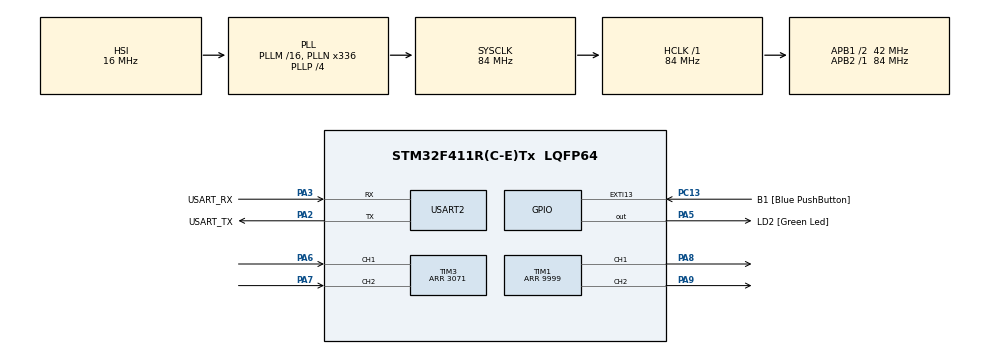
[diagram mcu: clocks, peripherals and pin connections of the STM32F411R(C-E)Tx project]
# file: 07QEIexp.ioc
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Mcu.Family=STM32F4
Mcu.Name=STM32F411R(C-E)Tx
Mcu.Package=LQFP64
NVIC.PriorityGroup=NVIC_PRIORITYGROUP_0
NVIC.TIM2_IRQn=true\:0\:0\:false\:false\:true\:true\:true
PA13.GPIO_Label=TMS
PA13.Mode=Serial_Wire
PA13.Signal=SYS_JTMS-SWDIO
PA14.GPIO_Label=TCK
PA14.Mode=Serial_Wire
PA14.Signal=SYS_JTCK-SWCLK
PA2.GPIO_Label=USART_TX
PA2.Mode=Asynchronous
PA2.Signal=USART2_TX
PA3.GPIO_Label=USART_RX
PA3.Mode=Asynchronous
PA3.Signal=USART2_RX
PA5.GPIO_Label=LD2 [Green Led]
PA5.Signal=GPIO_Output
PA6.Signal=S_TIM3_CH1
PA7.Signal=S_TIM3_CH2
PA8.Signal=S_TIM1_CH1
PA9.Signal=S_TIM1_CH2
PB3.GPIO_Label=SWO
PB3.Signal=SYS_JTDO-SWO
PC13-ANTI_TAMP.GPIO_Label=B1 [Blue PushButton]
PC13-ANTI_TAMP.GPIO_ModeDefaultEXTI=GPIO_MODE_IT_FALLING
PC13-ANTI_TAMP.Signal=GPXTI13
PC14-OSC32_IN.Mode=LSE-External-Oscillator
PC14-OSC32_IN.Signal=RCC_OSC32_IN
PC15-OSC32_OUT.Mode=LSE-External-Oscillator
PC15-OSC32_OUT.Signal=RCC_OSC32_OUT
PH0\ -\ OSC_IN.Mode=HSE-External-Clock-Source
PH0\ -\ OSC_IN.Signal=RCC_OSC_IN
PH1\ -\ OSC_OUT.Mode=HSE-External-Clock-Source
PH1\ -\ OSC_OUT.Signal=RCC_OSC_OUT
ProjectManager.HeapSize=0x200
ProjectManager.StackSize=0x400
ProjectManager.TargetToolchain=STM32CubeIDE
RCC.48MHZClocksFreq_Value=84000000
RCC.AHBFreq_Value=84000000
RCC.APB1CLKDivider=RCC_HCLK_DIV2
RCC.APB1Freq_Value=42000000
RCC.APB1TimFreq_Value=84000000
RCC.APB2Freq_Value=84000000
RCC.APB2TimFreq_Value=84000000
RCC.CortexFreq_Value=84000000
RCC.FLatency-AdvancedSettings=FLASH_LATENCY_2
RCC.HCLKFreq_Value=84000000
RCC.HSE_VALUE=8000000
RCC.HSI_VALUE=16000000
RCC.PLLN=336
RCC.PLLP=RCC_PLLP_DIV4
RCC.SYSCLKFreq_VALUE=84000000
RCC.SYSCLKSource=RCC_SYSCLKSOURCE_PLLCLK
RCC.VCOOutputFreq_Value=336000000
SH.S_TIM1_CH1.0=TIM1_CH1,PWM Generation1 CH1
SH.S_TIM1_CH2.0=TIM1_CH2,PWM Generation2 CH2
SH.S_TIM3_CH1.0=TIM3_CH1,Encoder_Interface
SH.S_TIM3_CH2.0=TIM3_CH2,Encoder_Interface
TIM1.Channel-PWM\ Generation1\ CH1=TIM_CHANNEL_1
TIM1.Channel-PWM\ Generation2\ CH2=TIM_CHANNEL_2
TIM1.Period=9999
TIM2.Prescaler=100
TIM3.EncoderMode=TIM_ENCODERMODE_TI12
TIM3.Period=3071
USART2.VirtualMode=VM_ASYNC
VP_TIM2_VS_ClockSourceINT.Mode=Internal
board=NUCLEO-F411RE

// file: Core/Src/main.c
/* USER CODE BEGIN Header */
/**
 ******************************************************************************
 * @file           : main.c
 * @brief          : Main program body
 ******************************************************************************
 * @attention
 *
 * Copyright (c) 2022 STMicroelectronics.
 * All rights reserved.
 *
 * This software is licensed under terms that can be found in the LICENSE file
 * in the root directory of this software component.
 * If no LICENSE file comes with this software, it is provided AS-IS.
 *
 ******************************************************************************
 */
/* USER CODE END Header */
#include "main.h"

TIM_HandleTypeDef htim1;
TIM_HandleTypeDef htim2;
TIM_HandleTypeDef htim3;

UART_HandleTypeDef huart2;

void SystemClock_Config(void);
static void MX_GPIO_Init(void);
static void MX_USART2_UART_Init(void);
static void MX_TIM2_Init(void);
static void MX_TIM3_Init(void);
static void MX_TIM1_Init(void);

/* USER CODE BEGIN 0 */
int need_pos = 0;
float kp = 1;
float error = 0,error1,error2;
float way=0;

int treshold = 10;
int min=900;
uint64_t TimeOutputLoop = 0;
uint64_t TimeOutputLoop2 = 0;
uint64_t micros();
uint64_t _micro = 0;
uint16_t PWMOutR = 0; //= 30% PWM
uint16_t PWMOutL = 0; //= 30% PWM

/* USER CODE END 0 */

int main(void) {

	/* MCU Configuration--------------------------------------------------------*/

	/* Reset of all peripherals, Initializes the Flash interface and the Systick. */
	HAL_Init();

	/* Configure the system clock */
	SystemClock_Config();

	/* Initialize all configured peripherals */
	MX_GPIO_Init();
	MX_USART2_UART_Init();
	MX_TIM2_Init();
	MX_TIM3_Init();
	MX_TIM1_Init();
	/* USER CODE BEGIN 2 */
	HAL_TIM_Encoder_Start(&htim3, TIM_CHANNEL_ALL);
	HAL_TIM_Base_Start(&htim1); //setup
	HAL_TIM_PWM_Start(&htim1, TIM_CHANNEL_1); //setup write pwm
	HAL_TIM_PWM_Start(&htim1, TIM_CHANNEL_2); //setup write pwm

	__HAL_TIM_SET_COMPARE(&htim1, TIM_CHANNEL_1, 0);
	__HAL_TIM_SET_COMPARE(&htim1, TIM_CHANNEL_2, 0);

	HAL_TIM_Base_Start_IT(&htim2);
	/* USER CODE END 2 */

	/* Infinite loop */
	/* USER CODE BEGIN WHILE */
	while (1) {
		if (micros() - TimeOutputLoop > 500) {
			TimeOutputLoop = micros();
			// #001
			__HAL_TIM_SET_COMPARE(&htim1, TIM_CHANNEL_1, PWMOutR);
			__HAL_TIM_SET_COMPARE(&htim1, TIM_CHANNEL_2, PWMOutL);
		}
		if (micros() - TimeOutputLoop2 > 1000) {
			TimeOutputLoop2 = micros();
			error1=need_pos + (int)htim3.Instance->CNT;
			error2=(need_pos+1536)%3072-((int)htim3.Instance->CNT+1536)%3072;
			if(error1 > error2){
				error=error2;
			}
			else{
				error=error1;
			}

			if (error < -treshold) {
				way=0;
				PWMOutR = 0;
				PWMOutL = (error * kp * -1);
				if(PWMOutL < min)PWMOutL=min;

			}else if(error > treshold){
				way=1;
				PWMOutR = error * kp ;
				PWMOutL = 0;
				if(PWMOutR < min)PWMOutR=min;
			}
			else{
				PWMOutR = 100;
				PWMOutL = 100;
			}
			// #001
		}
		/* USER CODE END WHILE */

	}
}

void SystemClock_Config(void) {
	RCC_OscInitTypeDef RCC_OscInitStruct = { 0 };
	RCC_ClkInitTypeDef RCC_ClkInitStruct = { 0 };

	/** Configure the main internal regulator output voltage
	 */
	__HAL_RCC_PWR_CLK_ENABLE();
	__HAL_PWR_VOLTAGESCALING_CONFIG(PWR_REGULATOR_VOLTAGE_SCALE1);
	/** Initializes the RCC Oscillators according to the specified parameters
	 * in the RCC_OscInitTypeDef structure.
	 */
	RCC_OscInitStruct.OscillatorType = RCC_OSCILLATORTYPE_HSI;
	RCC_OscInitStruct.HSIState = RCC_HSI_ON;
	RCC_OscInitStruct.HSICalibrationValue = RCC_HSICALIBRATION_DEFAULT;
	RCC_OscInitStruct.PLL.PLLState = RCC_PLL_ON;
	RCC_OscInitStruct.PLL.PLLSource = RCC_PLLSOURCE_HSI;
	RCC_OscInitStruct.PLL.PLLM = 16;
	RCC_OscInitStruct.PLL.PLLN = 336;
	RCC_OscInitStruct.PLL.PLLP = RCC_PLLP_DIV4;
	RCC_OscInitStruct.PLL.PLLQ = 4;
	if (HAL_RCC_OscConfig(&RCC_OscInitStruct) != HAL_OK) {
		Error_Handler();
	}
	/** Initializes the CPU, AHB and APB buses clocks
	 */
	RCC_ClkInitStruct.ClockType = RCC_CLOCKTYPE_HCLK | RCC_CLOCKTYPE_SYSCLK
			| RCC_CLOCKTYPE_PCLK1 | RCC_CLOCKTYPE_PCLK2;
	RCC_ClkInitStruct.SYSCLKSource = RCC_SYSCLKSOURCE_PLLCLK;
	RCC_ClkInitStruct.AHBCLKDivider = RCC_SYSCLK_DIV1;
	RCC_ClkInitStruct.APB1CLKDivider = RCC_HCLK_DIV2;
	RCC_ClkInitStruct.APB2CLKDivider = RCC_HCLK_DIV1;

	if (HAL_RCC_ClockConfig(&RCC_ClkInitStruct, FLASH_LATENCY_2) != HAL_OK) {
		Error_Handler();
	}
}

static void MX_TIM1_Init(void) {

	TIM_MasterConfigTypeDef sMasterConfig = { 0 };
	TIM_OC_InitTypeDef sConfigOC = { 0 };
	TIM_BreakDeadTimeConfigTypeDef sBreakDeadTimeConfig = { 0 };

	htim1.Instance = TIM1;
	htim1.Init.Prescaler = 0;
	htim1.Init.CounterMode = TIM_COUNTERMODE_UP;
	htim1.Init.Period = 9999;
	htim1.Init.ClockDivision = TIM_CLOCKDIVISION_DIV1;
	htim1.Init.RepetitionCounter = 0;
	htim1.Init.AutoReloadPreload = TIM_AUTORELOAD_PRELOAD_DISABLE;
	if (HAL_TIM_PWM_Init(&htim1) != HAL_OK) {
		Error_Handler();
	}
	sMasterConfig.MasterOutputTrigger = TIM_TRGO_RESET;
	sMasterConfig.MasterSlaveMode = TIM_MASTERSLAVEMODE_DISABLE;
	if (HAL_TIMEx_MasterConfigSynchronization(&htim1, &sMasterConfig)
			!= HAL_OK) {
		Error_Handler();
	}
	sConfigOC.OCMode = TIM_OCMODE_PWM1;
	sConfigOC.Pulse = 0;
	sConfigOC.OCPolarity = TIM_OCPOLARITY_HIGH;
	sConfigOC.OCNPolarity = TIM_OCNPOLARITY_HIGH;
	sConfigOC.OCFastMode = TIM_OCFAST_DISABLE;
	sConfigOC.OCIdleState = TIM_OCIDLESTATE_RESET;
	sConfigOC.OCNIdleState = TIM_OCNIDLESTATE_RESET;
	if (HAL_TIM_PWM_ConfigChannel(&htim1, &sConfigOC, TIM_CHANNEL_1)
			!= HAL_OK) {
		Error_Handler();
	}
	if (HAL_TIM_PWM_ConfigChannel(&htim1, &sConfigOC, TIM_CHANNEL_2)
			!= HAL_OK) {
		Error_Handler();
	}
	sBreakDeadTimeConfig.OffStateRunMode = TIM_OSSR_DISABLE;
	sBreakDeadTimeConfig.OffStateIDLEMode = TIM_OSSI_DISABLE;
	sBreakDeadTimeConfig.LockLevel = TIM_LOCKLEVEL_OFF;
	sBreakDeadTimeConfig.DeadTime = 0;
	sBreakDeadTimeConfig.BreakState = TIM_BREAK_DISABLE;
	sBreakDeadTimeConfig.BreakPolarity = TIM_BREAKPOLARITY_HIGH;
	sBreakDeadTimeConfig.AutomaticOutput = TIM_AUTOMATICOUTPUT_DISABLE;
	if (HAL_TIMEx_ConfigBreakDeadTime(&htim1, &sBreakDeadTimeConfig)
			!= HAL_OK) {
		Error_Handler();
	}
	HAL_TIM_MspPostInit(&htim1);

}

static void MX_TIM2_Init(void) {

	TIM_ClockConfigTypeDef sClockSourceConfig = { 0 };
	TIM_MasterConfigTypeDef sMasterConfig = { 0 };

	htim2.Instance = TIM2;
	htim2.Init.Prescaler = 100;
	htim2.Init.CounterMode = TIM_COUNTERMODE_UP;
	htim2.Init.Period = 4294967295;
	htim2.Init.ClockDivision = TIM_CLOCKDIVISION_DIV1;
	htim2.Init.AutoReloadPreload = TIM_AUTORELOAD_PRELOAD_DISABLE;
	if (HAL_TIM_Base_Init(&htim2) != HAL_OK) {
		Error_Handler();
	}
	sClockSourceConfig.ClockSource = TIM_CLOCKSOURCE_INTERNAL;
	if (HAL_TIM_ConfigClockSource(&htim2, &sClockSourceConfig) != HAL_OK) {
		Error_Handler();
	}
	sMasterConfig.MasterOutputTrigger = TIM_TRGO_RESET;
	sMasterConfig.MasterSlaveMode = TIM_MASTERSLAVEMODE_DISABLE;
	if (HAL_TIMEx_MasterConfigSynchronization(&htim2, &sMasterConfig)
			!= HAL_OK) {
		Error_Handler();
	}

}

static void MX_TIM3_Init(void) {

	TIM_Encoder_InitTypeDef sConfig = { 0 };
	TIM_MasterConfigTypeDef sMasterConfig = { 0 };

	htim3.Instance = TIM3;
	htim3.Init.Prescaler = 0;
	htim3.Init.CounterMode = TIM_COUNTERMODE_UP;
	htim3.Init.Period = 3071;
	htim3.Init.ClockDivision = TIM_CLOCKDIVISION_DIV1;
	htim3.Init.AutoReloadPreload = TIM_AUTORELOAD_PRELOAD_DISABLE;
	sConfig.EncoderMode = TIM_ENCODERMODE_TI12;
	sConfig.IC1Polarity = TIM_ICPOLARITY_RISING;
	sConfig.IC1Selection = TIM_ICSELECTION_DIRECTTI;
	sConfig.IC1Prescaler = TIM_ICPSC_DIV1;
	sConfig.IC1Filter = 0;
	sConfig.IC2Polarity = TIM_ICPOLARITY_RISING;
	sConfig.IC2Selection = TIM_ICSELECTION_DIRECTTI;
	sConfig.IC2Prescaler = TIM_ICPSC_DIV1;
	sConfig.IC2Filter = 0;
	if (HAL_TIM_Encoder_Init(&htim3, &sConfig) != HAL_OK) {
		Error_Handler();
	}
	sMasterConfig.MasterOutputTrigger = TIM_TRGO_RESET;
	sMasterConfig.MasterSlaveMode = TIM_MASTERSLAVEMODE_DISABLE;
	if (HAL_TIMEx_MasterConfigSynchronization(&htim3, &sMasterConfig)
			!= HAL_OK) {
		Error_Handler();
	}

}

static void MX_USART2_UART_Init(void) {

	huart2.Instance = USART2;
	huart2.Init.BaudRate = 115200;
	huart2.Init.WordLength = UART_WORDLENGTH_8B;
	huart2.Init.StopBits = UART_STOPBITS_1;
	huart2.Init.Parity = UART_PARITY_NONE;
	huart2.Init.Mode = UART_MODE_TX_RX;
	huart2.Init.HwFlowCtl = UART_HWCONTROL_NONE;
	huart2.Init.OverSampling = UART_OVERSAMPLING_16;
	if (HAL_UART_Init(&huart2) != HAL_OK) {
		Error_Handler();
	}

}

static void MX_GPIO_Init(void) {
	GPIO_InitTypeDef GPIO_InitStruct = { 0 };

	/* GPIO Ports Clock Enable */
	__HAL_RCC_GPIOC_CLK_ENABLE();
	__HAL_RCC_GPIOH_CLK_ENABLE();
	__HAL_RCC_GPIOA_CLK_ENABLE();
	__HAL_RCC_GPIOB_CLK_ENABLE();

	/*Configure GPIO pin Output Level */
	HAL_GPIO_WritePin(LD2_GPIO_Port, LD2_Pin, GPIO_PIN_RESET);

	/*Configure GPIO pin : B1_Pin */
	GPIO_InitStruct.Pin = B1_Pin;
	GPIO_InitStruct.Mode = GPIO_MODE_IT_FALLING;
	GPIO_InitStruct.Pull = GPIO_NOPULL;
	HAL_GPIO_Init(B1_GPIO_Port, &GPIO_InitStruct);

	/*Configure GPIO pin : LD2_Pin */
	GPIO_InitStruct.Pin = LD2_Pin;
	GPIO_InitStruct.Mode = GPIO_MODE_OUTPUT_PP;
	GPIO_InitStruct.Pull = GPIO_NOPULL;
	GPIO_InitStruct.Speed = GPIO_SPEED_FREQ_LOW;
	HAL_GPIO_Init(LD2_GPIO_Port, &GPIO_InitStruct);

}

/* USER CODE BEGIN 4 */
void HAL_TIM_PeriodElapsedCallback(TIM_HandleTypeDef *htim) {
	if (htim == &htim2) {
		_micro += 4294967295;
	}
}

uint64_t micros() {
	return _micro + htim2.Instance->CNT;
}
/* USER CODE END 4 */

void Error_Handler(void) {
	__disable_irq();
	while (1) {
	}
}
